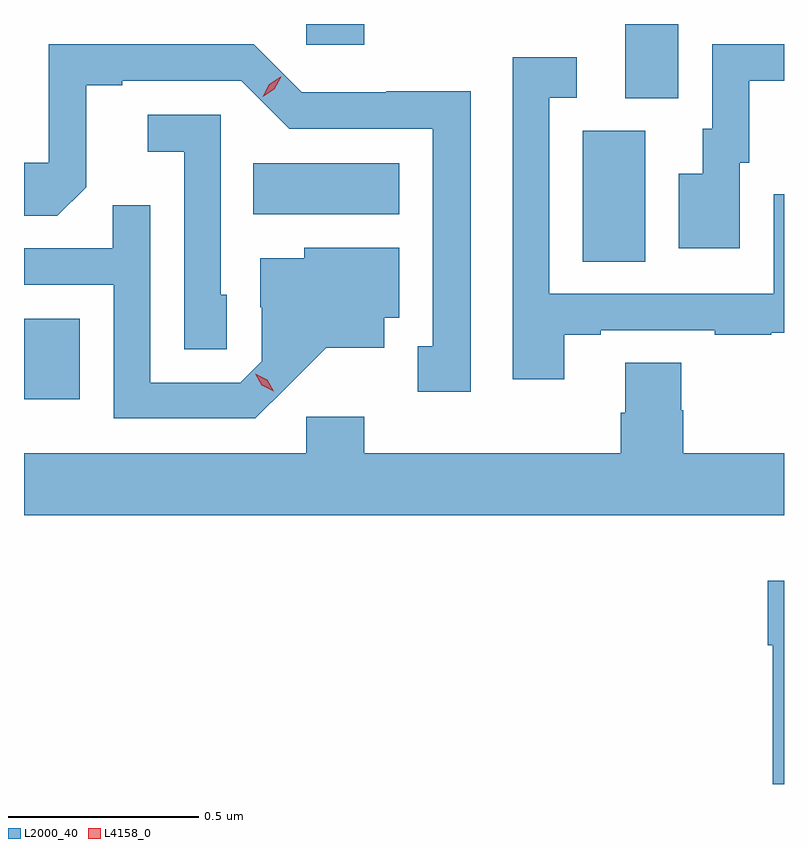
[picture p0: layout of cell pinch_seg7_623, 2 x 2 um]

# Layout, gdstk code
import gdstk
lib = gdstk.Library(unit=1e-6, precision=1e-09)
def R(c, l, rs):  # rectangles x0, y0, x1, y1
    for r in rs: c.add(gdstk.rectangle(r[:2], r[2:], *l))
def P(c, l, *ps):  # polygons
    for p in ps: c.add(gdstk.Polygon(p, *l))
L2000_40 = (2000, 40)
L4158_0 = (4158, 0)

pinch_seg7_623 = lib.new_cell('pinch_seg7_623')
R(pinch_seg7_623, L2000_40, [(181.831,1055.534,181.978,1055.746), (183.302,1055.896,183.466,1056.24), (182.434,1056.02,182.818,1056.154), (183.413,1056.325,183.553,1056.521), (182.574,1056.467,182.726,1056.521)])
P(pinch_seg7_623, L2000_40, [(183.715,1056.156),(183.739,1056.156),(183.739,1056.372),(183.831,1056.372),(183.831,1056.468),(183.642,1056.468),(183.642,1056.246),(183.617,1056.246),(183.617,1056.127),(183.554,1056.127),(183.554,1055.931),(183.715,1055.931)],
  [(183.007,1056.344),(182.784,1056.344),(182.784,1056.342),(182.562,1056.342),(182.436,1056.468),(181.896,1056.468),(181.896,1056.156),(181.831,1056.156),(181.831,1056.016),(181.919,1056.016),(181.995,1056.092),(181.995,1056.36),(182.089,1056.36),(182.089,1056.372),(182.403,1056.372),(182.529,1056.246),(182.906,1056.246),(182.906,1055.673),(182.867,1055.673),(182.867,1055.553),(183.007,1055.553)],
  [(183.253,1055.703),(183.349,1055.703),(183.349,1055.715),(183.649,1055.715),(183.649,1055.703),(183.797,1055.703),(183.797,1055.709),(183.831,1055.709),(183.831,1056.073),(183.804,1056.073),(183.804,1055.811),(183.213,1055.811),(183.213,1056.327),(183.286,1056.327),(183.286,1056.433),(183.117,1056.433),(183.117,1055.586),(183.253,1055.586)],
  [(182.364,1055.808),(182.349,1055.808),(182.349,1056.282),(182.157,1056.282),(182.157,1056.185),(182.253,1056.185),(182.253,1055.665),(182.364,1055.665)],
  [(182.524,1055.567),(182.627,1055.669),(182.779,1055.669),(182.779,1055.748),(182.818,1055.748),(182.818,1055.932),(182.568,1055.932),(182.568,1055.905),(182.453,1055.905),(182.453,1055.776),(182.457,1055.776),(182.457,1055.634),(182.4,1055.577),(182.163,1055.577),(182.163,1056.044),(182.065,1056.044),(182.065,1055.931),(181.831,1055.931),(181.831,1055.835),(182.067,1055.835),(182.067,1055.484),(182.44,1055.484)],
  [(183.831,1055.392),(183.566,1055.392),(183.566,1055.505),(183.561,1055.505),(183.561,1055.63),(183.413,1055.63),(183.413,1055.498),(183.401,1055.498),(183.401,1055.392),(182.726,1055.392),(182.726,1055.488),(182.574,1055.488),(182.574,1055.392),(181.831,1055.392),(181.831,1055.228),(183.831,1055.228)],
  [(183.831,1055.056),(183.788,1055.056),(183.788,1054.886),(183.802,1054.886),(183.802,1054.521),(183.831,1054.521)])
P(pinch_seg7_623, L4158_0, [(182.459,1056.33),(182.459,1056.33),(182.476,1056.363),(182.507,1056.382),(182.508,1056.382),(182.508,1056.382),(182.49,1056.349),(182.459,1056.33)],
  [(182.488,1055.555),(182.457,1055.571),(182.44,1055.6),(182.44,1055.601),(182.44,1055.601),(182.471,1055.585),(182.488,1055.555),(182.488,1055.555)])

lib.write_gds('pinch_seg7_623.gds')
